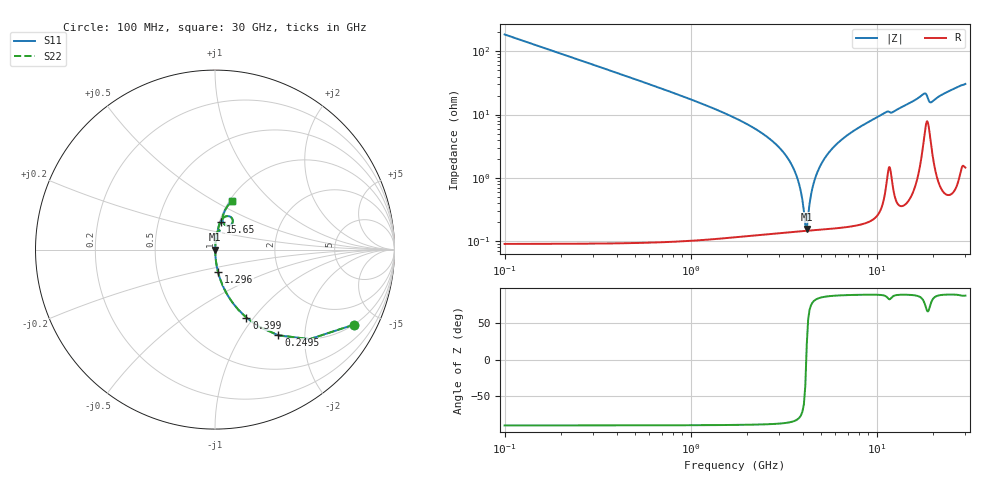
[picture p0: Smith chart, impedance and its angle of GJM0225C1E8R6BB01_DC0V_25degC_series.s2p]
!Murata Part Number: GJM0225C1E8R6BB01
!These Parameters are Measured in Series Mode Connection
!  o--ll--o
!Port1  Port2
!  o------o
!Operation Temp=25[degC], DC Bias Voltage=0[V]
!Freq. Start=100[MHz] Stop=30[GHz], 401[Steps]
!Data Generated on Feb 1, 2023
# Hz S RI R 50
!Freq.(Hz) S11(Real) S11(Imag) S21(Real) S21(Imag) S12(Real) S12(Imag) S22(Real) S22(Imag)
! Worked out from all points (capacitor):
!   401 points, 100 MHz to 30 GHz, reference 50 ohm
!   read as one part in series: C = 8.6 pF near 249.5 MHz
!   lowest |Z| = 155 mohm at 4.211 GHz (marker M1)
!   series resonance near 4.185 GHz, so ESL is about 170 pH
!   S11 on the Smith chart (normalised r, x): 100 MHz: 1.00, -3.70; 249.5 MHz: 1.00, -1.48; 399 MHz: 1.00, -0.92; 1.296 GHz: 1.00, -0.26; 15.65 GHz: 1.01, +0.32; 30 GHz: 1.03, +0.61
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1e8  0.7737 -0.4182  0.2263 0.4182  0.2263 0.4182  0.7737 -0.4182
2.495e8  0.3534 -0.4774  0.6466 0.4774  0.6466 0.4774  0.3534 -0.4774
3.99e8  0.1748 -0.3788  0.8252 0.3788  0.8252 0.3788  0.1748 -0.3788
6.98e8  0.063 -0.2412  0.937 0.2412  0.937 0.2412  0.063 -0.2412
1.296e9  0.0174 -0.1266  0.9826 0.1266  0.9826 0.1266  0.0174 -0.1266
3.31425e9  0.0018 -0.0207  0.9982 0.0207  0.9982 0.0207  0.0018 -0.0207
3.76275e9  0.0015 -0.00938  0.9985 0.00938  0.9985 0.00938  0.0015 -0.00938
4.06175e9  0.00144 -0.00263  0.9986 0.00263  0.9986 0.00263  0.00144 -0.00263
4.21125e9  0.00145 0.000549  0.9985 -0.000549  0.9985 -0.000549  0.00145 0.000549
4.286e9  0.00146 0.0021  0.9985 -0.0021  0.9985 -0.0021  0.00146 0.0021
4.65975e9  0.00158 0.00949  0.9984 -0.00949  0.9984 -0.00949  0.00158 0.00949
5.10825e9  0.00183 0.0177  0.9982 -0.0177  0.9982 -0.0177  0.00183 0.0177
5.781e9  0.00241 0.029  0.9976 -0.029  0.9976 -0.029  0.00241 0.029
6.8275e9  0.00369 0.045  0.9963 -0.045  0.9963 -0.045  0.00369 0.045
1.01165e10  0.0108 0.0903  0.9892 -0.0903  0.9892 -0.0903  0.0108 0.0903
1.505e10  0.027 0.1477  0.973 -0.1477  0.973 -0.1477  0.027 0.1477
1.5648e10  0.031 0.1562  0.969 -0.1562  0.969 -0.1562  0.031 0.1562
1.804e10  0.081 0.1849  0.919 -0.1849  0.919 -0.1849  0.081 0.1849
1.9236e10  0.069 0.1326  0.931 -0.1326  0.931 -0.1326  0.069 0.1326
2.005825e10  0.0449 0.1518  0.9551 -0.1518  0.9551 -0.1518  0.0449 0.1518
2.50665e10  0.0604 0.2272  0.9396 -0.2272  0.9396 -0.2272  0.0604 0.2272
3e10  0.096 0.2718  0.904 -0.2718  0.904 -0.2718  0.096 0.2718
